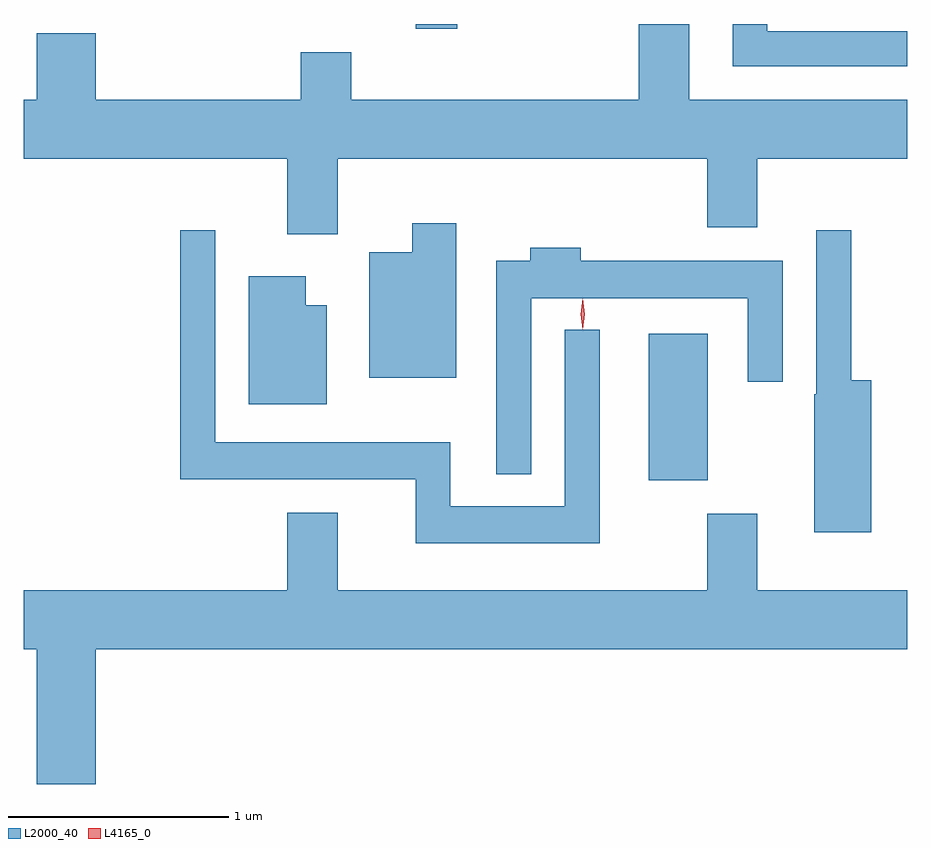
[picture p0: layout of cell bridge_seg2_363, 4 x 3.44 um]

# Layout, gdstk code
import gdstk
lib = gdstk.Library(unit=1e-6, precision=1e-09)
def R(c, l, rs):  # rectangles x0, y0, x1, y1
    for r in rs: c.add(gdstk.rectangle(r[:2], r[2:], *l))
def P(c, l, *ps):  # polygons
    for p in ps: c.add(gdstk.Polygon(p, *l))
L2000_40 = (2000, 40)
L4165_0 = (4165, 0)

bridge_seg2_363 = lib.new_cell('bridge_seg2_363')
R(bridge_seg2_363, L2000_40, [(617.446,1000.241,617.714,1000.904), (616.391,1002.286,616.579,1002.307)])
P(bridge_seg2_363, L2000_40, [(616.039,1001.696),(617.711,1001.696),(617.711,1001.386),(617.939,1001.386),(617.939,1001.696),(618.617,1001.696),(618.617,1001.964),(617.629,1001.964),(617.629,1002.307),(617.401,1002.307),(617.401,1001.964),(616.099,1001.964),(616.099,1002.179),(615.871,1002.179),(615.871,1001.964),(614.944,1001.964),(614.944,1002.264),(614.676,1002.264),(614.676,1001.964),(614.617,1001.964),(614.617,1001.696),(615.811,1001.696),(615.811,1001.356),(616.039,1001.356)],
  [(618.617,1002.274),(617.984,1002.274),(617.984,1002.307),(617.826,1002.307),(617.826,1002.116),(618.617,1002.116)],
  [(616.574,1001.404),(616.376,1001.404),(616.376,1001.274),(616.181,1001.274),(616.181,1000.706),(616.574,1000.706)],
  [(618.454,1000.694),(618.364,1000.694),(618.364,1001.373),(618.206,1001.373),(618.206,1000.63),(618.196,1000.63),(618.196,1000.006),(618.454,1000.006)],
  [(617.224,1000.923),(617.066,1000.923),(617.066,1000.124),(616.549,1000.124),(616.549,1000.414),(615.484,1000.414),(615.484,1001.373),(615.326,1001.373),(615.326,1000.246),(616.391,1000.246),(616.391,999.956),(617.224,999.956)],
  [(616.914,1001.066),(617.896,1001.066),(617.896,1000.688),(618.054,1000.688),(618.054,1001.234),(617.139,1001.234),(617.139,1001.294),(616.911,1001.294),(616.911,1001.234),(616.756,1001.234),(616.756,1000.268),(616.914,1000.268)],
  [(615.989,1001.034),(615.894,1001.034),(615.894,1001.164),(615.636,1001.164),(615.636,1000.586),(615.989,1000.586)],
  [(614.944,999.476),(618.617,999.476),(618.617,999.744),(617.939,999.744),(617.939,1000.089),(617.711,1000.089),(617.711,999.744),(616.039,999.744),(616.039,1000.094),(615.811,1000.094),(615.811,999.744),(614.617,999.744),(614.617,999.476),(614.676,999.476),(614.676,998.866),(614.944,998.866)])
P(bridge_seg2_363, L4165_0, [(617.148,1000.923),(617.147,1000.924),(617.138,1000.993),(617.147,1001.062),(617.148,1001.063),(617.148,1001.062),(617.158,1000.993),(617.148,1000.924)])

lib.write_gds('bridge_seg2_363.gds')
